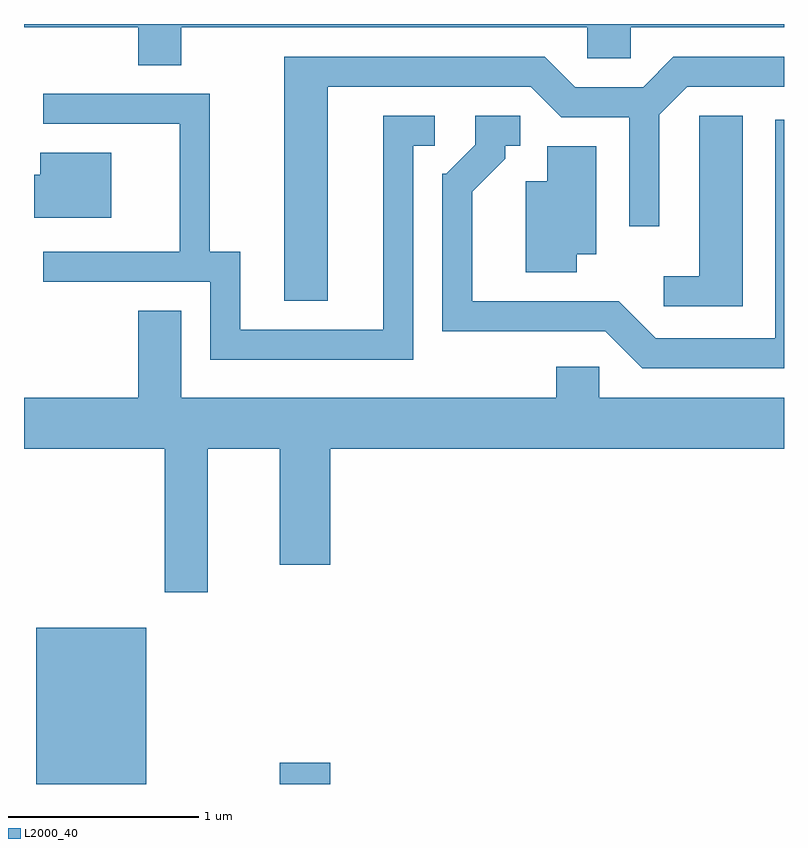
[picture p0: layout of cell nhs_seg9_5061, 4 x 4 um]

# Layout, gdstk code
import gdstk
lib = gdstk.Library(unit=1e-6, precision=1e-09)
def R(c, l, rs):  # rectangles x0, y0, x1, y1
    for r in rs: c.add(gdstk.rectangle(r[:2], r[2:], *l))
def P(c, l, *ps):  # polygons
    for p in ps: c.add(gdstk.Polygon(p, *l))
L2000_40 = (2000, 40)

nhs_seg9_5061 = lib.new_cell('nhs_seg9_5061')
R(nhs_seg9_5061, L2000_40, [(333.676,2054.432,334.254,2055.254), (334.956,2054.432,335.224,2054.544)])
P(nhs_seg9_5061, L2000_40, [(334.439,2058.416),(336.576,2058.416),(336.576,2058.251),(336.804,2058.251),(336.804,2058.416),(337.611,2058.416),(337.611,2058.432),(333.611,2058.432),(333.611,2058.416),(334.211,2058.416),(334.211,2058.216),(334.439,2058.216)],
  [(335.209,2058.101),(336.279,2058.101),(336.439,2057.941),(336.796,2057.941),(336.796,2057.367),(336.954,2057.367),(336.954,2057.954),(337.102,2058.101),(337.611,2058.101),(337.611,2058.259),(337.029,2058.259),(336.869,2058.099),(336.512,2058.099),(336.352,2058.259),(334.981,2058.259),(334.981,2056.976),(335.209,2056.976)],
  [(335.659,2057.791),(335.773,2057.791),(335.773,2057.949),(335.501,2057.949),(335.501,2056.824),(334.749,2056.824),(334.749,2057.234),(334.589,2057.234),(334.589,2058.064),(333.713,2058.064),(333.713,2057.906),(334.431,2057.906),(334.431,2057.234),(333.713,2057.234),(333.713,2057.076),(334.591,2057.076),(334.591,2056.666),(335.659,2056.666)],
  [(337.611,2057.929),(337.566,2057.929),(337.566,2056.779),(336.937,2056.779),(336.742,2056.974),(335.969,2056.974),(335.969,2057.548),(336.144,2057.724),(336.144,2057.791),(336.223,2057.791),(336.223,2057.949),(335.986,2057.949),(335.986,2057.797),(335.834,2057.644),(335.811,2057.644),(335.811,2056.816),(336.669,2056.816),(336.864,2056.621),(337.611,2056.621)],
  [(337.394,2057.949),(337.166,2057.949),(337.166,2057.104),(336.978,2057.104),(336.978,2056.946),(337.394,2056.946)],
  [(336.519,2057.221),(336.624,2057.221),(336.624,2057.789),(336.366,2057.789),(336.366,2057.604),(336.251,2057.604),(336.251,2057.126),(336.519,2057.126)],
  [(334.069,2057.754),(333.696,2057.754),(333.696,2057.639),(333.666,2057.639),(333.666,2057.411),(334.069,2057.411)],
  [(334.579,2056.196),(334.956,2056.196),(334.956,2055.586),(335.224,2055.586),(335.224,2056.196),(337.611,2056.196),(337.611,2056.464),(336.639,2056.464),(336.639,2056.629),(336.411,2056.629),(336.411,2056.464),(334.439,2056.464),(334.439,2056.924),(334.211,2056.924),(334.211,2056.464),(333.611,2056.464),(333.611,2056.196),(334.351,2056.196),(334.351,2055.441),(334.579,2055.441)])

lib.write_gds('nhs_seg9_5061.gds')
